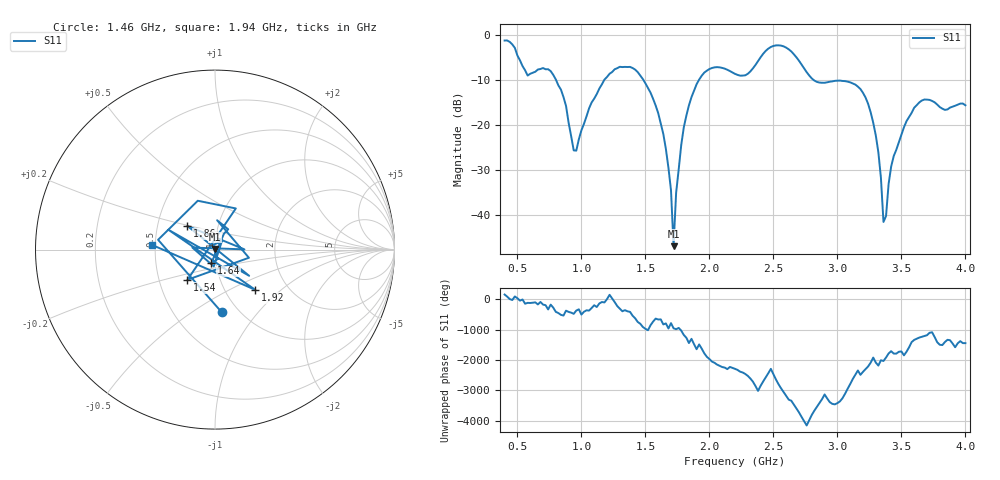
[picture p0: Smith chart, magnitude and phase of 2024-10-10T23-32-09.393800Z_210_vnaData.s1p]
! Created with skrf (http://scikit-rf.org).
# Hz S RI R 50.0
!freq ReS11 ImS11
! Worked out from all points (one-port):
!   181 points, 400 MHz to 4 GHz, reference 50 ohm
!   lowest |S11| = -46.9 dB at 1.72 GHz (marker M1), VSWR 1.01, Z = 49.7 + j0.364 ohm
!   |S11| at or under -10 dB: 801 MHz to 1.18 GHz (378.5 MHz wide, 38.2 % of centre); 1.483 GHz to 1.919 GHz (436.1 MHz wide, 25.6 % of centre); 2.812 GHz to end of sweep
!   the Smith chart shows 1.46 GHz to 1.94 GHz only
!   S11 on the Smith chart (normalised r, x): 1.46 GHz: 0.84, -0.67; 1.54 GHz: 0.70, -0.25; 1.64 GHz: 0.95, -0.15; 1.86 GHz: 0.71, +0.20; 1.92 GHz: 1.38, -0.69; 1.94 GHz: 0.48, +0.03
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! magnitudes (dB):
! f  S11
! 400 MHz  -1.3
! 760 MHz  -8.1
! 860 MHz  -13.8
! 960 MHz  -25.7
! 1.08 GHz  -15.0
! 1.3 GHz  -7.1
! 1.46 GHz  -9.1
! 1.54 GHz  -12.9
! 1.64 GHz  -22.0
! 1.7 GHz  -34.5
! 1.72 GHz  -46.9
! 1.74 GHz  -35.1
! 1.76 GHz  -29.9
! 1.86 GHz  -13.9
! 1.92 GHz  -10.0
! 1.94 GHz  -9.1
! 2.2 GHz  -8.7
! 2.5 GHz  -2.5
! 2.66 GHz  -4.4
! 2.84 GHz  -10.5
! 3.1 GHz  -10.6
! 3.28 GHz  -19.5
! 3.32 GHz  -26.1
! 3.36 GHz  -41.5
! 3.42 GHz  -29.2
! 3.56 GHz  -18.2
! 3.68 GHz  -14.4
! 4 GHz  -15.7
